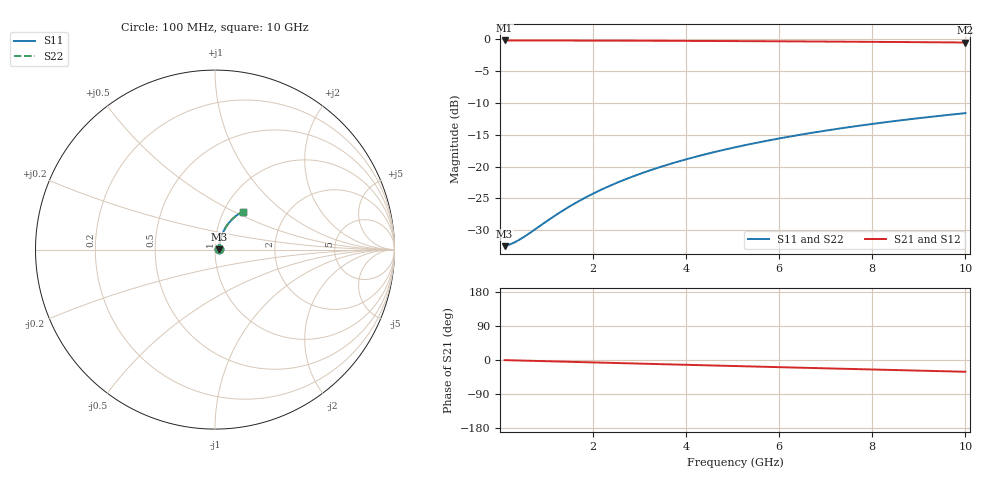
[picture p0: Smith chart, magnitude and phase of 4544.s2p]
# Hz S RI R 50.00
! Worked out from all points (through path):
!   100 points, 100 MHz to 10 GHz, reference 50 ohm
!   highest |S21| = -0.21 dB at 100 MHz (marker M1); lowest = -0.5 dB at 10 GHz (marker M2)
!   group delay of S21, straight-line fit = 8.63 ps
!   lowest |S11| = -32.5 dB at 100 MHz (marker M3), VSWR 1.05, Z = 52.4 + j0.282 ohm
!   |S11| at or under -10 dB: start of sweep to end of sweep
!   |S22| runs from -32.5 to -11.6 dB; largest |S21 - S12| = 0
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1e8  0.0236 0.00269  0.9764 -0.00542  0.9764 -0.00542  0.0236 0.00269
2e8  0.0238 0.00538  0.9762 -0.0108  0.9762 -0.0108  0.0238 0.00538
3e8  0.024 0.00806  0.976 -0.0162  0.976 -0.0162  0.024 0.00806
4e8  0.0242 0.0107  0.9758 -0.0217  0.9758 -0.0217  0.0242 0.0107
6e8  0.0246 0.0161  0.9752 -0.0325  0.9752 -0.0325  0.0246 0.0161
1e9  0.0258 0.0268  0.9738 -0.0541  0.9738 -0.0541  0.0258 0.0268
1.3e9  0.0269 0.0347  0.9724 -0.0702  0.9724 -0.0702  0.0269 0.0347
1.5e9  0.0279 0.04  0.9713 -0.081  0.9713 -0.081  0.0279 0.04
1.8e9  0.0294 0.0479  0.9693 -0.097  0.9693 -0.097  0.0294 0.0479
2.1e9  0.0312 0.0557  0.967 -0.113  0.967 -0.113  0.0312 0.0557
2.5e9  0.0341 0.066  0.9635 -0.1342  0.9635 -0.1342  0.0341 0.066
2.9e9  0.0373 0.0762  0.9594 -0.1553  0.9594 -0.1553  0.0373 0.0762
3.4e9  0.042 0.0886  0.9536 -0.1814  0.9536 -0.1814  0.042 0.0886
3.8e9  0.0462 0.0984  0.9482 -0.2021  0.9482 -0.2021  0.0462 0.0984
4.2e9  0.0509 0.1079  0.9424 -0.2225  0.9424 -0.2225  0.0509 0.1079
4.6e9  0.0559 0.1172  0.936 -0.2427  0.936 -0.2427  0.0559 0.1172
5.1e9  0.0627 0.1285  0.9273 -0.2676  0.9273 -0.2676  0.0627 0.1285
5.9e9  0.0749 0.1456  0.9118 -0.3066  0.9118 -0.3066  0.0749 0.1456
6.7e9  0.0883 0.1614  0.8945 -0.3443  0.8945 -0.3443  0.0883 0.1614
7.5e9  0.103 0.176  0.8754 -0.3807  0.8754 -0.3807  0.103 0.176
8.4e9  0.1208 0.1906  0.8521 -0.42  0.8521 -0.42  0.1208 0.1906
1e10  0.1551 0.212  0.8062 -0.4851  0.8062 -0.4851  0.1551 0.212
